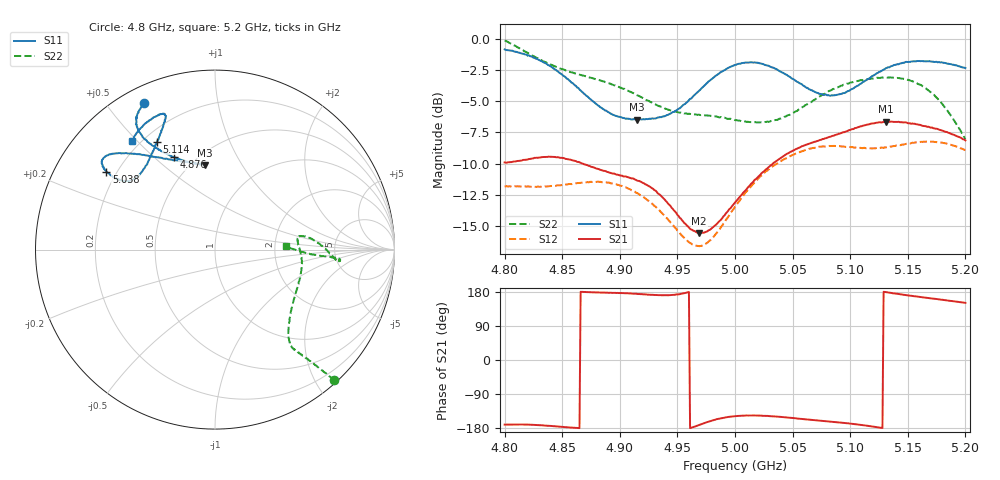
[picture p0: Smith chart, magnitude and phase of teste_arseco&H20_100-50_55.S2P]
! Network Analyzer HP8722D
! Hewlett-Packard
! Data name: Linha & Wilkinson
! Saver's name: Rodrigo Anjos
! Comments: Teste da utilização de aquisição
! continua pelo VNA HP8722D
! Time and date: 6/5/2025 13:01
!  Frequency  S11  S21  S12  S22
# HZ  S  MA R 50
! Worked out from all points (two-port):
!   401 points, 4.8 GHz to 5.2 GHz, reference 50 ohm
!   highest |S21| = -6.63 dB at 5.131 GHz (marker M1); lowest = -15.6 dB at 4.969 GHz (marker M2)
!   |S21| within 3 dB of the highest: 4.821 GHz to 4.854 GHz (33.5 MHz wide, 0.692 % of centre); 5.038 GHz to end of sweep
!   lowest |S11| = -6.5 dB at 4.915 GHz (marker M3), VSWR 2.80, Z = 29 + j35.3 ohm
!   |S11| at or under -10 dB: nowhere
!   |S22| runs from -8.0 to -0.1 dB; largest |S21 - S12| = 0.83
!   S11 on the Smith chart (normalised r, x): 4.8 GHz: 0.07, +0.62; 4.876 GHz: 0.38, +0.58; 5.038 GHz: 0.16, +0.31; 5.114 GHz: 0.25, +0.57; 5.2 GHz: 0.17, +0.48
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4.8e9  0.9061 115.9  0.3197 -170.5  0.2563 -86.0  0.9839 -47.4
4.819e9  0.8631 120.4  0.3281 -170.4  0.2557 -81.8  0.8817 -48.7
4.835e9  0.7997 122.6  0.3365 -173.0  0.2564 -76.4  0.8074 -49.7
4.867e9  0.614 117.9  0.3171 179.8  0.2654 -67.3  0.7138 -51.5
4.876e9  0.5645 114.1  0.3068 178.7  0.2672 -66.2  0.6959 -51.8
4.899e9  0.4872 101.6  0.2847 176.7  0.26 -66.5  0.6418 -50.2
4.915e9  0.4742 96.6  0.2707 174.4  0.2413 -68.1  0.594 -46.3
4.934e9  0.4841 99.1  0.239 171.0  0.2068 -69.4  0.5371 -37.4
4.948e9  0.5132 108.0  0.2034 172.2  0.1753 -66.4  0.511 -28.2
4.969e9  0.6201 123.5  0.1662 -171.5  0.1479 -47.7  0.4962 -15.0
4.981e9  0.697 130.0  0.176 -159.0  0.1606 -33.7  0.4892 -8.8
5e9  0.7855 137.2  0.2208 -148.3  0.2128 -21.3  0.4723 -0.3
5.019e9  0.8013 141.7  0.2766 -146.7  0.2716 -18.3  0.4621 5.9
5.038e9  0.7449 144.4  0.3292 -149.7  0.3206 -18.3  0.4774 8.9
5.067e9  0.6214 141.9  0.3839 -158.1  0.365 -20.5  0.5618 4.6
5.087e9  0.5937 133.5  0.4118 -163.9  0.3721 -23.4  0.6342 -1.3
5.114e9  0.6826 118.1  0.4521 -173.1  0.3639 -26.5  0.688 -5.3
5.131e9  0.7619 111.9  0.4659 179.2  0.3674 -28.2  0.699 -5.0
5.134e9  0.7681 111.4  0.4646 177.7  0.3688 -28.6  0.6995 -4.7
5.161e9  0.8127 112.4  0.4517 166.1  0.3864 -35.0  0.6541 -3.6
5.179e9  0.8042 118.6  0.4299 159.1  0.3841 -40.6  0.5546 -3.0
5.2e9  0.7632 127.3  0.3919 150.8  0.3581 -46.3  0.3967 2.5
